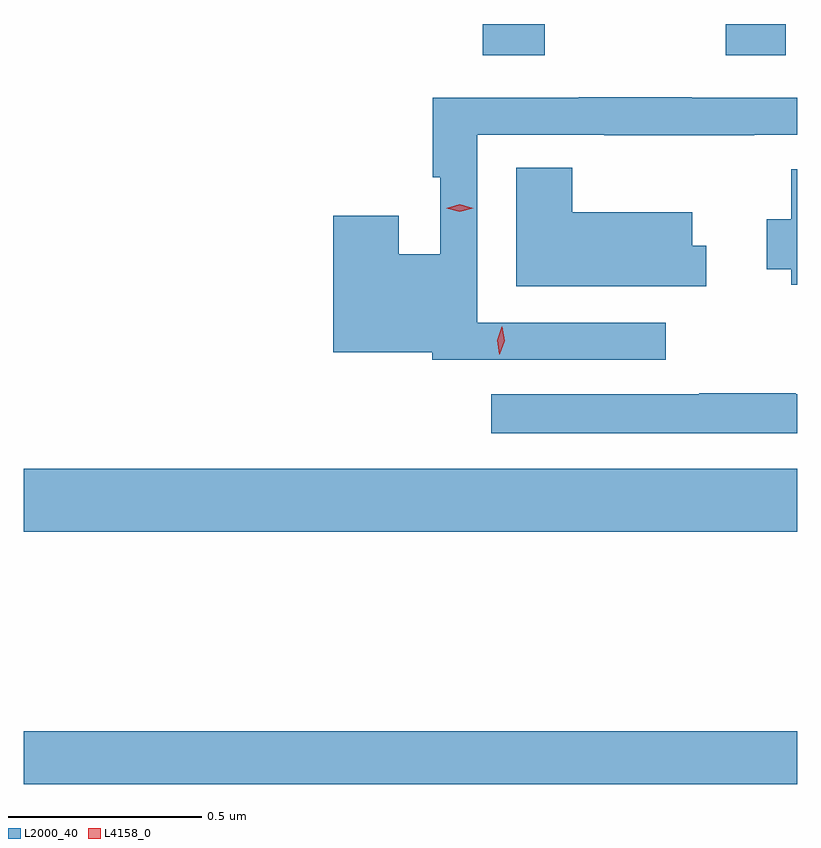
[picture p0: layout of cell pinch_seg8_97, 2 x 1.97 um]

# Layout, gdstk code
import gdstk
lib = gdstk.Library(unit=1e-6, precision=1e-09)
def R(c, l, rs):  # rectangles x0, y0, x1, y1
    for r in rs: c.add(gdstk.rectangle(r[:2], r[2:], *l))
def P(c, l, *ps):  # polygons
    for p in ps: c.add(gdstk.Polygon(p, *l))
L2000_40 = (2000, 40)
L4158_0 = (4158, 0)

pinch_seg8_97 = lib.new_cell('pinch_seg8_97')
R(pinch_seg8_97, L2000_40, [(1064.298,1111.852,1066.298,1111.988), (1064.298,1112.504,1066.298,1112.668), (1065.485,1113.737,1065.645,1113.818), (1066.114,1113.737,1066.269,1113.818)])
P(pinch_seg8_97, L2000_40, [(1065.958,1113.045),(1065.471,1113.045),(1065.471,1113.531),(1065.799,1113.531),(1065.799,1113.53),(1066.187,1113.53),(1066.187,1113.531),(1066.298,1113.531),(1066.298,1113.627),(1066.025,1113.627),(1066.025,1113.629),(1065.733,1113.629),(1065.733,1113.627),(1065.355,1113.627),(1065.355,1113.422),(1065.375,1113.422),(1065.375,1113.223),(1065.268,1113.223),(1065.268,1113.322),(1065.098,1113.322),(1065.098,1112.969),(1065.354,1112.969),(1065.354,1112.949),(1065.958,1112.949)],
  [(1066.063,1113.244),(1066.027,1113.244),(1066.027,1113.331),(1065.716,1113.331),(1065.716,1113.446),(1065.572,1113.446),(1065.572,1113.14),(1066.063,1113.14)],
  [(1066.298,1113.442),(1066.283,1113.442),(1066.283,1113.313),(1066.22,1113.313),(1066.22,1113.184),(1066.283,1113.184),(1066.283,1113.143),(1066.298,1113.143)],
  [(1066.298,1112.86),(1066.295,1112.86),(1066.295,1112.863),(1066.045,1112.863),(1066.045,1112.86),(1065.507,1112.86),(1065.507,1112.759),(1066.298,1112.759)])
P(pinch_seg8_97, L4158_0, [(1065.528,1112.964),(1065.522,1113),(1065.534,1113.035),(1065.534,1113.035),(1065.535,1113.035),(1065.542,1112.999),(1065.529,1112.964),(1065.529,1112.964)],
  [(1065.425,1113.332),(1065.39,1113.342),(1065.39,1113.342),(1065.39,1113.342),(1065.425,1113.352),(1065.46,1113.342),(1065.46,1113.342),(1065.46,1113.342)])

lib.write_gds('pinch_seg8_97.gds')
